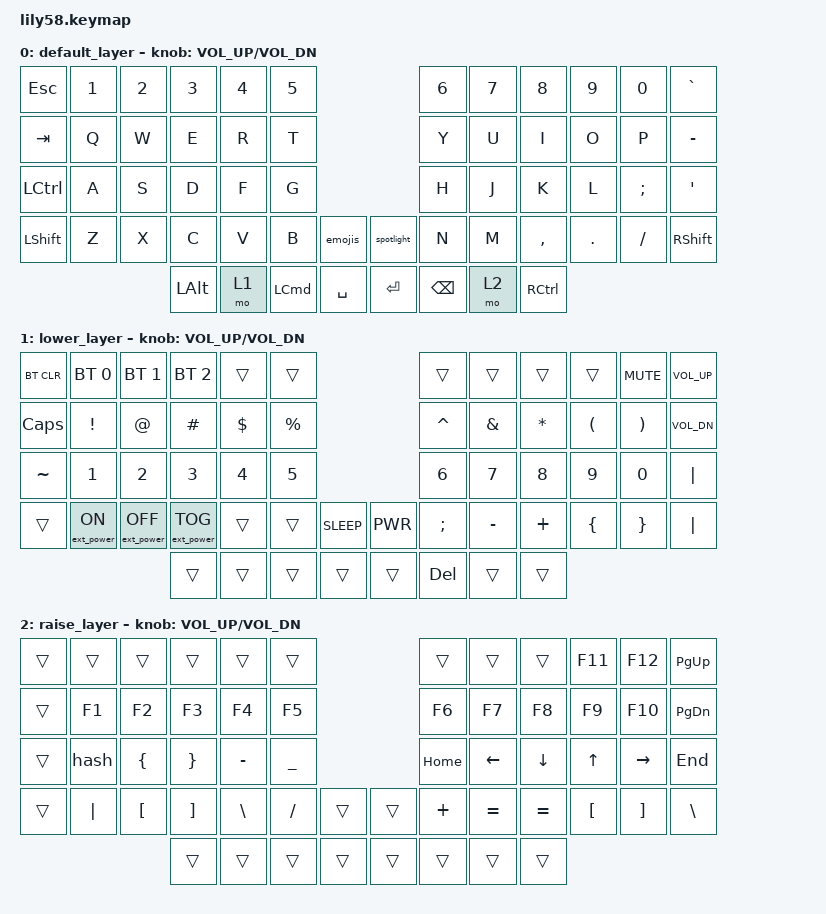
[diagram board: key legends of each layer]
/*
 * Copyright (c) 2020 The ZMK Contributors
 *
 * SPDX-License-Identifier: MIT
 */

#include <behaviors.dtsi>
#include <dt-bindings/zmk/keys.h>
#include <dt-bindings/zmk/bt.h>
#include <dt-bindings/zmk/ext_power.h>

/ {
    macros {
        spotlight: spotlight {
            compatible = "zmk,behavior-macro";
            #binding-cells = <0>;
            bindings
                = <&macro_press &kp LALT>
                , <&macro_tap &kp SPACE>
                , <&macro_release &kp LALT>
                ;
        };
	hash: hash {
            compatible = "zmk,behavior-macro";
            #binding-cells = <0>;
            bindings
                = <&macro_press &kp LALT>
                , <&macro_tap &kp N3>
                , <&macro_release &kp LALT>
                ;
        };
	emojis: emojis {
	    compatible = "zmk,behavior-macro";
            #binding-cells = <0>;
            bindings
                = <&macro_press &kp LCTRL &kp LCMD>
                , <&macro_tap &kp SPACE>
                , <&macro_release &kp LCTRL &kp LCMD>
                ;
	};
    };
};

/ {
    keymap {
        compatible = "zmk,keymap";

        default_layer {
// -----------------------------------------------------------------------------------------------------------------------
// |  ESC  |  1  |  2  |  3   |  4    |  5  |                              |  6   |  7    |  8    |  9   |   0   |   `   |
// |  TAB  |  Q  |  W  |  E   |  R    |  T  |                              |  Y   |  U    |  I    |  O   |   P   |   -   |
// | LCTRL |  A  |  S  |  D   |  F    |  G  |                              |  H   |  J    |  K    |  L   |   ;   |   '   |
// | SHIFT |  Z  |  X  |  C   |  V    |  B  | EMOJIS |         | SPOTLIGHT |  N   |  M    |  ,    |  .   |   /   | SHIFT |
//                     | ALT  | LOWER | GUI | SPACE  |         | ENTER     | BSPC | RAISE | GUI   |
            bindings = <
&kp ESC   &kp N1 &kp N2 &kp N3    &kp N4    &kp N5                         &kp N6   &kp N7    &kp N8    &kp N9   &kp N0   &kp GRAVE
&kp TAB   &kp Q  &kp W  &kp E     &kp R     &kp T                          &kp Y    &kp U     &kp I     &kp O    &kp P    &kp MINUS
&kp LCTRL  &kp A  &kp S  &kp D     &kp F     &kp G                          &kp H    &kp J     &kp K     &kp L    &kp SEMI &kp SQT
&kp LSHFT &kp Z  &kp X  &kp C     &kp V     &kp B    &emojis    &spotlight &kp N    &kp M     &kp COMMA &kp DOT  &kp FSLH &kp RSHFT
                        &kp LALT &mo 1     &kp LCMD &kp SPACE  &kp RET    &kp BSPC &mo 2     &kp RCTRL
            >;

            sensor-bindings = <&inc_dec_kp C_VOL_UP C_VOL_DN>;
        };

        lower_layer {
// ------------------------------------------------------------------------------------------------------------
// | BTCLR | BT1 | BT2 |  BT3 |  BT4 |  BT5 |                 |      |       |       |      | MUTE | VOL UP   |
// | CAPS  |  !  |  @  |  £   |  $   |  %   |                 |  ^   |  &    |  *    |  (   |  )   | VOL DOWN |
// |   ~   |  1  |  2  |  3   |  4   |  5   |                 |  6   |  7    |  8    |  9   |  0   |  "|"     |
// |       |     |     |      |      |      |      |  |       |      |  _    |  +    |  {   |  }   |  "|"     |
//                     |      |      |      |      |  |       |      |       |       |
            bindings = <
&bt BT_CLR &bt BT_SEL 0     &bt BT_SEL 1      &bt BT_SEL 2      &trans     &trans                          &trans    &trans    &trans    &trans    &kp C_MUTE &kp C_VOL_UP
&kp CAPS   &kp EXCL         &kp AT            &kp HASH          &kp DOLLAR &kp PRCNT                       &kp CARET &kp AMPS  &kp ASTRK &kp LPAR  &kp RPAR   &kp C_VOL_DN
&kp TILDE  &kp N1           &kp N2            &kp N3            &kp N4     &kp N5                          &kp N6    &kp N7    &kp N8    &kp N9    &kp N0     &kp PIPE
&trans     &ext_power EP_ON &ext_power EP_OFF &ext_power EP_TOG &trans     &trans    &kp C_SLEEP &kp C_PWR &kp SEMI  &kp MINUS &kp PLUS  &kp LBRC  &kp RBRC   &kp PIPE
                                              &trans            &trans     &trans    &trans      &trans    &kp DEL   &trans    &trans
            >;

            sensor-bindings = <&inc_dec_kp C_VOL_UP C_VOL_DN>;
        };

        raise_layer {
// -------------------------------------------------------------------------------------------------------------
// |   |       |      |      |      |      |               |        |       |      |  F11  |  F12  | PAGE UP   |
// |   |  F1   |  F2  |  F3  |  F4  |  F5  |               |  F6    |   F7  |  F8  |  F9   |  F10  | PAGE DOWN |
// |   |  #    |  {   |  }   |  -   |  _   |               |  HOME  |   <-  |   v  |  ^    |  ->   | END       |
// |   |  "|"  |  [   |  ]   |  \   |  /   |      |  |     |  +     |   =   |   =  |  [    |   ]   | \         |
//                           |      |      |      |  |     |        |       |      |       |
            bindings = <
&trans &trans   &trans   &trans   &trans    &trans                      &trans   &trans    &trans    &kp F11  &kp F12    &kp PAGE_UP
&trans &kp F1   &kp F2   &kp F3   &kp F4    &kp F5                      &kp F6   &kp F7    &kp F8    &kp F9   &kp F10    &kp PAGE_DOWN
&trans &hash    &kp LBRC &kp RBRC &kp MINUS &kp UNDER                   &kp HOME &kp LEFT  &kp DOWN  &kp UP   &kp RIGHT  &kp END
&trans &kp PIPE &kp LBKT &kp RBKT &kp BSLH  &kp FSLH   &trans   &trans  &kp PLUS &kp EQUAL &kp EQUAL &kp LBKT &kp RBKT   &kp BSLH
                         &trans   &trans    &trans     &trans   &trans  &trans   &trans    &trans
	    >;

            sensor-bindings = <&inc_dec_kp C_VOL_UP C_VOL_DN>;
        };
    };
};
